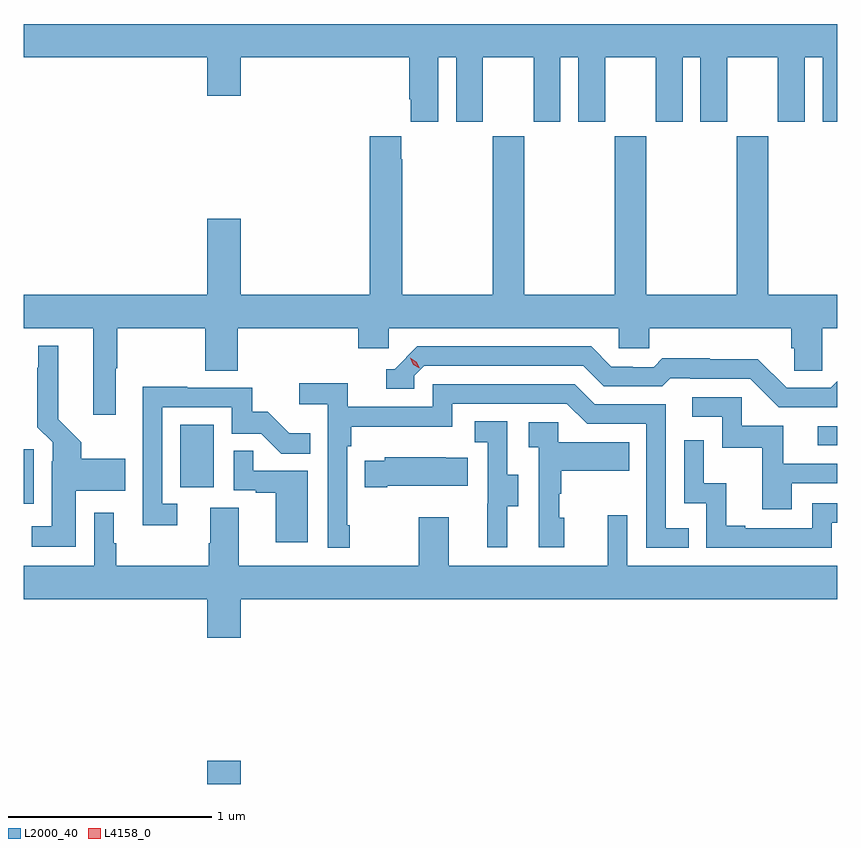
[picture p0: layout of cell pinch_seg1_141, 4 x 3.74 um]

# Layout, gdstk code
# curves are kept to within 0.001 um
import gdstk
lib = gdstk.Library(unit=1e-6, precision=1e-09)
def R(c, l, rs):  # rectangles x0, y0, x1, y1
    for r in rs: c.add(gdstk.rectangle(r[:2], r[2:], *l))
def P(c, l, *ps):  # polygons
    for p in ps: c.add(gdstk.Polygon(p, *l))
L2000_40 = (2000, 40)
L4158_0 = (4158, 0)

pinch_seg1_141 = lib.new_cell('pinch_seg1_141')
R(pinch_seg1_141, L2000_40, [(1142.03,549.492,1142.194,549.607), (1141.127,550.869,1141.177,551.137), (1141.898,550.95,1142.062,551.257), (1145.031,551.157,1145.127,551.25)])
P(pinch_seg1_141, L2000_40, [(1143.166,553.064),(1143.254,553.064),(1143.254,552.747),(1143.385,552.747),(1143.385,553.064),(1143.635,553.064),(1143.635,552.747),(1143.766,552.747),(1143.766,553.064),(1143.854,553.064),(1143.854,552.747),(1143.985,552.747),(1143.985,553.064),(1144.235,553.064),(1144.235,552.747),(1144.366,552.747),(1144.366,553.064),(1144.454,553.064),(1144.454,552.747),(1144.585,552.747),(1144.585,553.064),(1144.835,553.064),(1144.835,552.747),(1144.966,552.747),(1144.966,553.064),(1145.054,553.064),(1145.054,552.747),(1145.127,552.747),(1145.127,553.228),(1141.127,553.228),(1141.127,553.064),(1142.03,553.064),(1142.03,552.876),(1142.194,552.876),(1142.194,553.064),(1143.023,553.064),(1143.023,552.859),(1143.029,552.859),(1143.029,552.747),(1143.166,552.747)],
  [(1141.579,551.536),(1141.587,551.536),(1141.587,551.732),(1142.02,551.732),(1142.02,551.524),(1142.18,551.524),(1142.18,551.732),(1142.771,551.732),(1142.771,551.634),(1142.922,551.634),(1142.922,551.732),(1144.053,551.732),(1144.053,551.634),(1144.203,551.634),(1144.203,551.732),(1144.901,551.732),(1144.901,551.634),(1144.915,551.634),(1144.915,551.524),(1145.052,551.524),(1145.052,551.732),(1145.127,551.732),(1145.127,551.896),(1144.788,551.896),(1144.788,552.676),(1144.633,552.676),(1144.633,551.896),(1144.188,551.896),(1144.188,552.676),(1144.033,552.676),(1144.033,551.896),(1143.588,551.896),(1143.588,552.676),(1143.433,552.676),(1143.433,551.896),(1142.988,551.896),(1142.988,552.563),(1142.983,552.563),(1142.983,552.676),(1142.828,552.676),(1142.828,551.896),(1142.194,551.896),(1142.194,552.271),(1142.03,552.271),(1142.03,551.896),(1141.127,551.896),(1141.127,551.732),(1141.469,551.732),(1141.469,551.307),(1141.579,551.307)],
  [(1141.384,550.934),(1141.627,550.934),(1141.627,551.092),(1141.41,551.092),(1141.41,551.171),(1141.297,551.284),(1141.297,551.647),(1141.199,551.647),(1141.199,551.537),(1141.195,551.537),(1141.195,551.246),(1141.269,551.172),(1141.269,551.078),(1141.265,551.078),(1141.265,550.759),(1141.167,550.759),(1141.167,550.658),(1141.384,550.658)],
  [(1145.127,551.472),(1145.094,551.439),(1144.878,551.439),(1144.736,551.581),(1144.5,551.581),(1144.5,551.584),(1144.267,551.584),(1144.225,551.541),(1144.122,551.541),(1144.122,551.544),(1144.015,551.544),(1143.916,551.643),(1143.063,551.643),(1142.952,551.532),(1142.909,551.532),(1142.909,551.436),(1143.048,551.436),(1143.048,551.499),(1143.096,551.547),(1143.879,551.547),(1143.978,551.448),(1144.267,551.448),(1144.306,551.487),(1144.405,551.487),(1144.405,551.484),(1144.698,551.484),(1144.839,551.343),(1145.127,551.343)],
  [(1142.731,550.765),(1142.718,550.765),(1142.718,551.153),(1142.738,551.153),(1142.738,551.249),(1143.234,551.249),(1143.234,551.361),(1143.798,551.361),(1143.897,551.262),(1144.188,551.262),(1144.188,550.653),(1144.397,550.653),(1144.397,550.749),(1144.284,550.749),(1144.284,551.358),(1143.934,551.358),(1143.835,551.457),(1143.138,551.457),(1143.138,551.346),(1142.72,551.346),(1142.72,551.462),(1142.481,551.462),(1142.481,551.36),(1142.622,551.36),(1142.622,550.653),(1142.731,550.653)],
  [(1141.882,550.869),(1141.809,550.869),(1141.809,551.343),(1142.151,551.343),(1142.151,551.214),(1142.295,551.214),(1142.393,551.116),(1142.537,551.116),(1142.537,551.215),(1142.433,551.215),(1142.326,551.322),(1142.25,551.322),(1142.25,551.439),(1141.931,551.439),(1141.931,551.444),(1141.712,551.444),(1141.713,550.764),(1141.882,550.764)],
  [(1144.903,550.971),(1145.127,550.971),(1145.127,551.067),(1144.861,551.067),(1144.861,551.253),(1144.656,551.253),(1144.656,551.394),(1144.413,551.394),(1144.413,551.298),(1144.56,551.298),(1144.56,551.145),(1144.759,551.145),(1144.759,550.842),(1144.903,550.842)],
  [(1143.505,550.858),(1143.559,550.858),(1143.559,551.013),(1143.504,551.013),(1143.504,551.276),(1143.345,551.276),(1143.345,551.173),(1143.408,551.173),(1143.408,550.869),(1143.407,550.869),(1143.407,550.656),(1143.505,550.656)],
  [(1143.784,550.8),(1143.759,550.8),(1143.759,550.919),(1143.769,550.919),(1143.769,551.033),(1144.103,551.033),(1144.103,551.173),(1143.756,551.173),(1143.756,551.271),(1143.609,551.271),(1143.609,551.147),(1143.66,551.147),(1143.66,550.656),(1143.784,550.656)],
  [(1145.1,550.776),(1145.127,550.776),(1145.127,550.872),(1145.004,550.872),(1145.004,550.749),(1144.675,550.749),(1144.675,550.762),(1144.58,550.762),(1144.58,550.97),(1144.47,550.97),(1144.47,551.182),(1144.374,551.182),(1144.374,550.872),(1144.482,550.872),(1144.482,550.653),(1145.1,550.653)],
  [(1142.524,551.031),(1142.255,551.031),(1142.255,551.129),(1142.16,551.129),(1142.16,550.935),(1142.267,550.935),(1142.267,550.923),(1142.366,550.923),(1142.366,550.68),(1142.524,550.68)],
  [(1142.914,550.958),(1143.311,550.958),(1143.311,551.095),(1143.203,551.095),(1143.203,551.098),(1142.901,551.098),(1142.901,551.08),(1142.803,551.08),(1142.803,550.951),(1142.914,550.951)],
  [(1142.194,550.4),(1145.127,550.4),(1145.127,550.564),(1144.095,550.564),(1144.095,550.813),(1143.998,550.813),(1143.998,550.564),(1143.217,550.564),(1143.217,550.804),(1143.07,550.804),(1143.07,550.564),(1142.185,550.564),(1142.185,550.85),(1142.045,550.85),(1142.045,550.676),(1142.038,550.676),(1142.038,550.564),(1141.582,550.564),(1141.582,550.676),(1141.57,550.676),(1141.57,550.825),(1141.473,550.825),(1141.473,550.564),(1141.127,550.564),(1141.127,550.4),(1142.03,550.4),(1142.03,550.212),(1142.194,550.212)])
P(pinch_seg1_141, L4158_0, [(1143.073,551.535),(1143.043,551.554),(1143.027,551.587),(1143.027,551.587),(1143.028,551.587),(1143.058,551.568),(1143.074,551.535),(1143.074,551.535)])

lib.write_gds('pinch_seg1_141.gds')
